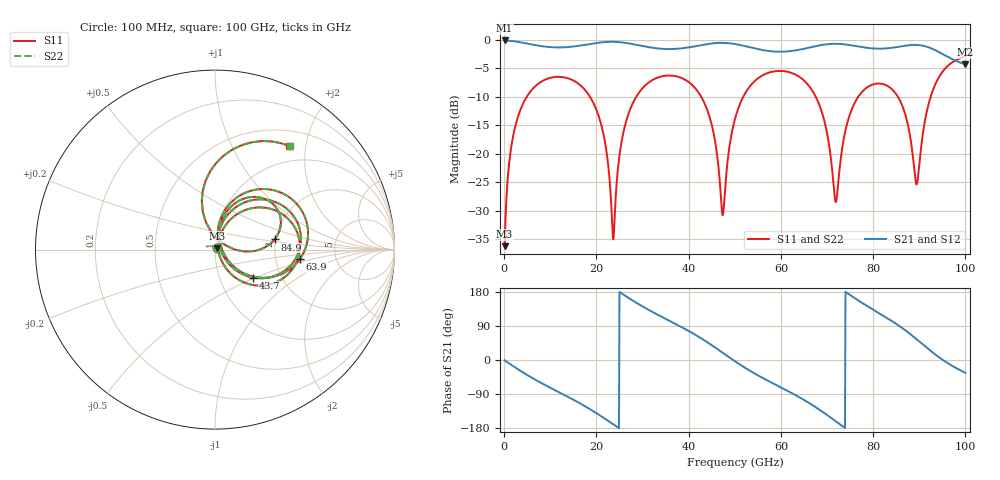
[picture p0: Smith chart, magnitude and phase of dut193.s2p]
! Touchstone file exported from HFSS 2026.1.0
!  File:  C:/ffzhzh/LocalFiles/Ansys_Project_Files/temp_test_TSV_RDL_193_1783479283_46308.aedt
!  Generated:  11:03:08 AM Jul  8, 2026
!  Design:  TSV_RDL
!  Project:  temp_test_TSV_RDL_193_1783479283_46308
! Variables:
!  h_bsmrdl = 3.6um
!  h_ox = 20um
!  h_rdl = 5um
!  h_sub = 78.56um
!  h_tmrdl = 4.33um
!  h_tsv = 78.56um
!  h_via = 3um
!  l_bsmrdl = 264.3um
!  l_sub = 2133.78um
!  l_tmrdl = 216.56um
!  m_sub = 200um
!  pitch = 44.09um
!  r_tsv = 12.23um
!  s_tmrdl = 10um
!  w_bsmrdl = 12.92um
!  w_sub = 500um
!  w_tmrdl = 11.96um
!  x_tsv_center1 = 222.54um
!  x_tsv_center2 = 499.76um
!  x_tsv_center3 = 728.28um
!  x_tsv_center4 = 1005.5um
!  x_tsv_center5 = 1234.02um
!  x_tsv_center6 = 1511.24um
# GHz S MA R 50.000000
! Terminal data exported
! Port[1] = TM_RDL1_1_T1
! Port[2] = TM_RDL5_1_T1
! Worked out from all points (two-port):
!   1000 points, 100 MHz to 100 GHz, reference 50 ohm
!   highest |S21| = -0.12 dB at 100 MHz (marker M1); lowest = -4.3 dB at 100 GHz (marker M2)
!   |S21| within 3 dB of the highest: start of sweep to 96.47 GHz
!   lowest |S11| = -36.2 dB at 100 MHz (marker M3), VSWR 1.03, Z = 51.3 + j0.797 ohm
!   |S11| at or under -10 dB: 18.6 GHz to 28.65 GHz (10.04 GHz wide, 42.5 % of centre); 42.72 GHz to 51.84 GHz (9.119 GHz wide, 19.3 % of centre); 67.56 GHz to 76.78 GHz (9.219 GHz wide, 12.8 % of centre) (the widest 3 of 5)
!   |S22| runs from -36.2 to -3.0 dB; largest |S21 - S12| = 3.6e-14
!   S11 on the Smith chart (normalised r, x): 100 MHz: 1.03, +0.02; 43.7 GHz: 1.44, -0.48; 63.9 GHz: 2.76, -0.37; 84.9 GHz: 1.97, +0.25; 100 GHz: 0.74, +1.71
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0.1  0.01543 30.2  0.9867 -0.9  0.9867 -0.9  0.01543 30.2
! Gamma 0 0 0 0
! Port Impedance 50 0 50 0
1.6  0.1187 68.7  0.9764 -13.3  0.9764 -13.3  0.1187 68.7
4.5  0.2958 50.2  0.9349 -36.0  0.9349 -36.0  0.2958 50.2
16.8  0.3898 -27.4  0.8933 -116.9  0.8933 -116.9  0.3898 -27.4
21.2  0.17 -56.0  0.9503 -149.7  0.9503 -149.7  0.17 -56.0
23.7  0.01775 18.6  0.9599 -170.0  0.9599 -170.0  0.018 18.7
26.7  0.208 69.8  0.9343 165.8  0.9343 165.8  0.2081 69.8
33.4  0.4677 26.9  0.8392 118.8  0.8392 118.8  0.4678 26.9
43.7  0.2623 -36.4  0.9123 49.6  0.9123 49.6  0.2622 -36.5
47.4  0.0288 19.1  0.9404 19.0  0.9404 19.0  0.02828 19.1
50.1  0.2054 77.6  0.9169 -3.7  0.9169 -3.7  0.2054 77.8
55.6  0.4761 43.0  0.8186 -44.5  0.8186 -44.5  0.4762 43.0
63.9  0.4759 -6.3  0.8164 -97.6  0.8164 -97.6  0.476 -6.2
66.7  0.3638 -24.3  0.8635 -117.9  0.8635 -117.9  0.3639 -24.1
69.6  0.1813 -40.9  0.9098 -141.6  0.9098 -141.6  0.1815 -40.7
71.9  0.03756 17.5  0.9226 -161.8  0.9226 -161.8  0.03797 17.4
75.9  0.2742 67.5  0.8852 164.1  0.8852 164.1  0.2741 67.5
83.4  0.387 19.3  0.8446 107.9  0.8446 107.9  0.3871 19.5
84.9  0.3372 9.7  0.8603 96.1  0.8603 96.1  0.3373 9.9
89.4  0.05373 49.7  0.9011 55.1  0.9011 55.1  0.05537 49.8
93.2  0.383 98.1  0.8202 17.1  0.8202 17.1  0.3831 97.8
100  0.7097 54.2  0.6108 -34.0  0.6108 -34.0  0.7096 54.1
